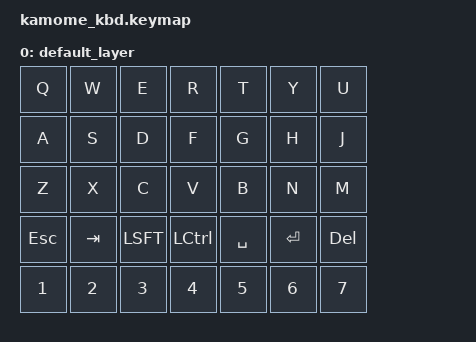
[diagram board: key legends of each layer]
/*
 * Copyright (c) 2022 The ZMK Contributors
 *
 * SPDX-License-Identifier: MIT
 */

#include <behaviors.dtsi>
#include <dt-bindings/zmk/keys.h>
#include <dt-bindings/zmk/backlight.h>
#include <dt-bindings/zmk/bt.h>
#include <dt-bindings/zmk/ext_power.h>
#include <dt-bindings/zmk/rgb.h>

// Uncomment the following lines if using the "Direct Wire" jumper to switch the matrix to a direct wire.

// / {
//     chosen {
//         zmk,physical-layout = &direct_physical_layout;
//     };
// };

/ {
    keymap {
        compatible = "zmk,keymap";

        default_layer {
            bindings = <
                &kp Q &kp W &kp E &kp R &kp T &kp Y &kp U
                &kp A &kp S &kp D &kp F &kp G &kp H &kp J
                &kp Z &kp X &kp C &kp V &kp B &kp N &kp M
                &kp ESC &kp TAB &kp LSFT &kp LCTRL &kp SPACE &kp RET &kp DEL
                &kp N1 &kp N2 &kp N3 &kp N4 &kp N5 &kp N6 &kp N7
            >;
        };
    };
};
